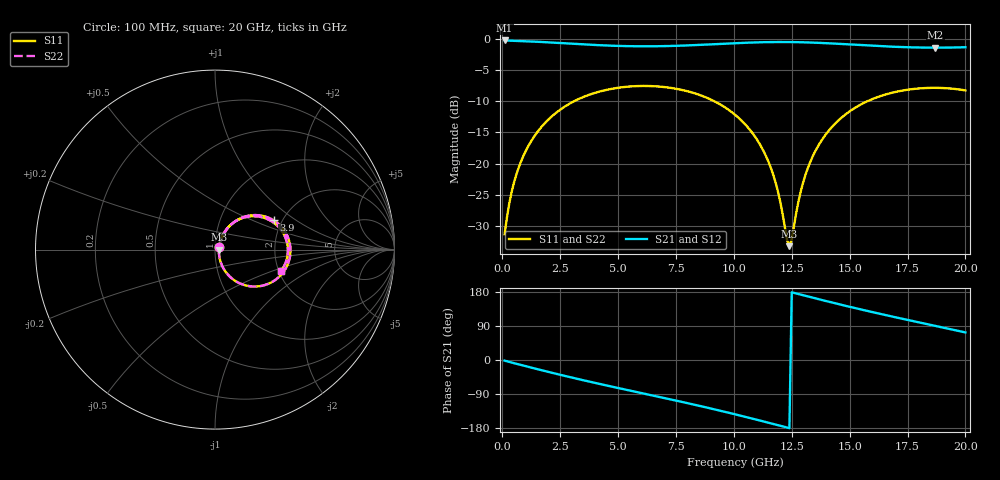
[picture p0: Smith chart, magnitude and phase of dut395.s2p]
! Touchstone file exported from HFSS 2026.1.0
!  File:  C:/ffzhzh/LocalFiles/Ansys_Project_Files/temp_train_TSV_RDL_395_1783091390_37876.aedt
!  Generated:  11:23:58 PM Jul  3, 2026
!  Design:  TSV_RDL
!  Project:  temp_train_TSV_RDL_395_1783091390_37876
! Variables:
!  h_bsmrdl = 2.32um
!  h_ox = 20um
!  h_rdl = 5um
!  h_sub = 59.98um
!  h_tmrdl = 3.28um
!  h_tsv = 59.98um
!  h_via = 3um
!  l_bsmrdl = 433.53um
!  l_sub = 5104.87um
!  l_tmrdl = 813.03um
!  m_sub = 200um
!  pitch = 43.28um
!  r_tsv = 7.79um
!  s_tmrdl = 10um
!  w_bsmrdl = 23.62um
!  w_sub = 500um
!  w_tmrdl = 27.1um
!  x_tsv_center1 = 826.58um
!  x_tsv_center2 = 1283.73um
!  x_tsv_center3 = 2123.86um
!  x_tsv_center4 = 2581.01um
!  x_tsv_center5 = 3421.14um
!  x_tsv_center6 = 3878.29um
# GHz S MA R 50.000000
! Terminal data exported
! Port[1] = TM_RDL1_1_T1
! Port[2] = TM_RDL5_1_T1
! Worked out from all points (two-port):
!   200 points, 100 MHz to 20 GHz, reference 50 ohm
!   highest |S21| = -0.20 dB at 100 MHz (marker M1); lowest = -1.4 dB at 18.7 GHz (marker M2)
!   |S21| within 3 dB of the highest: start of sweep to end of sweep
!   lowest |S11| = -33.3 dB at 12.4 GHz (marker M3), VSWR 1.04, Z = 52.2 - j0.033 ohm
!   |S11| at or under -10 dB: start of sweep to 3.091 GHz; 9.167 GHz to 15.76 GHz (6.589 GHz wide, 52.9 % of centre)
!   |S22| runs from -33.2 to -7.5 dB; largest |S21 - S12| = 2.1e-14
!   S11 on the Smith chart (normalised r, x): 100 MHz: 1.05, +0.03; 3.9 GHz: 1.80, +0.68; 20 GHz: 2.06, -0.57
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0.1  0.02698 30.1  0.977 -1.7  0.977 -1.7  0.02698 30.1
! Gamma 0 0 0 0
! Port Impedance 50 0 50 0
0.3  0.04765 52.6  0.9737 -5.1  0.9737 -5.1  0.04765 52.6
0.5  0.06976 58.6  0.9705 -8.3  0.9705 -8.3  0.06976 58.6
1.2  0.1463 58.8  0.9594 -19.3  0.9594 -19.3  0.1463 58.8
2.2  0.245 48.2  0.9386 -34.6  0.9386 -34.6  0.245 48.3
3.5  0.3428 31.7  0.9086 -53.4  0.9086 -53.4  0.3428 31.7
3.9  0.365 26.6  0.9004 -59.0  0.9004 -59.0  0.365 26.6
5.4  0.4149 7.6  0.8795 -79.2  0.8795 -79.2  0.4148 7.6
6.8  0.4156 -10.0  0.8784 -97.7  0.8784 -97.7  0.4155 -9.9
8.5  0.3572 -31.7  0.8994 -120.8  0.8994 -120.8  0.3572 -31.6
10.1  0.2425 -52.5  0.9296 -144.0  0.9296 -144.0  0.2425 -52.4
10.9  0.1659 -62.0  0.9419 -156.2  0.9419 -156.2  0.1659 -61.9
11.5  0.1028 -66.4  0.9477 -165.6  0.9477 -165.6  0.1028 -66.3
11.9  0.06003 -63.5  0.9494 -171.9  0.9494 -171.9  0.06004 -63.3
12.3  0.02417 -27.3  0.9492 -178.2  0.9492 -178.2  0.0243 -26.9
12.4  0.02164 -0.8  0.9489 -179.8  0.9489 -179.8  0.02181 -0.7
12.9  0.06077 59.2  0.9454 172.4  0.9454 172.4  0.06087 59.1
13.4  0.1134 61.5  0.9392 164.5  0.9392 164.5  0.1135 61.5
14.7  0.2382 48.2  0.9142 144.8  0.9142 144.8  0.2382 48.3
16.7  0.3656 22.9  0.8726 116.5  0.8726 116.5  0.3656 23.0
18.7  0.4064 -1.8  0.8551 90.0  0.8551 90.0  0.4063 -1.7
20  0.3874 -17.7  0.8619 72.8  0.8619 72.8  0.3874 -17.6
